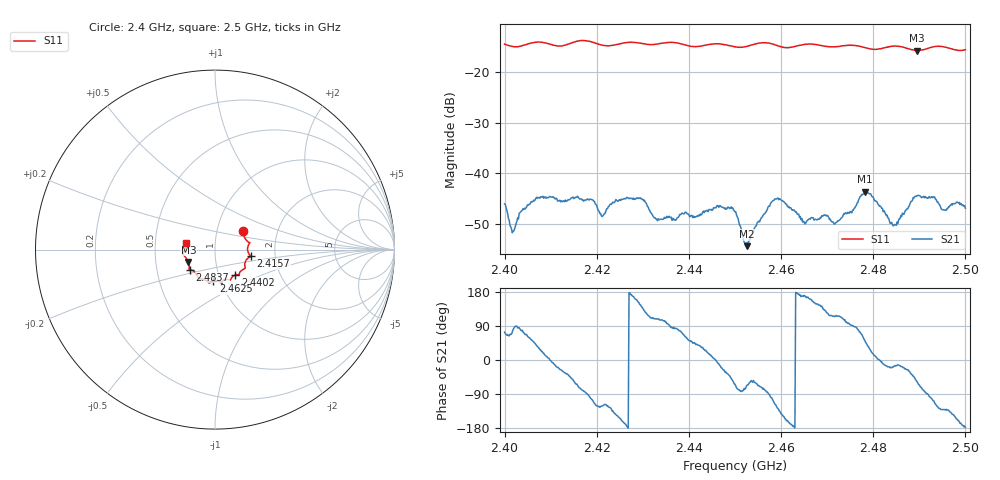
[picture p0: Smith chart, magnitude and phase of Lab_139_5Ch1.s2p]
# Hz S RI R 50
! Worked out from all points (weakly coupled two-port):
!   601 points, 2.4 GHz to 2.5 GHz, reference 50 ohm
!   highest |S21| = -43.64 dB at 2.4782 GHz (marker M1); lowest = -54.4 dB at 2.4525 GHz (marker M2)
!   lowest |S11| = -15.7 dB at 2.4895 GHz (marker M3), VSWR 1.39, Z = 36.8 - j5.17 ohm
!   |S11| at or under -10 dB: start of sweep to end of sweep
!   S12 and S22 are empty: the file has one direction only
!   S11 on the Smith chart (normalised r, x): 2.4 GHz: 1.34, +0.29; 2.4157 GHz: 1.49, -0.11; 2.4402 GHz: 1.20, -0.35; 2.4625 GHz: 0.92, -0.34; 2.4837 GHz: 0.74, -0.17; 2.5 GHz: 0.72, +0.05
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2.4e9  0.1568 0.1057  0.0014 0.00477  0 0  0 0
2.401833e9  0.1604 0.0783  0.000456 0.00262  0 0  0 0
2.407e9  0.1943 0.039  0.00462 0.00348  0 0  0 0
2.415667e9  0.1986 -0.0364  0.00261 -0.00519  0 0  0 0
2.416667e9  0.2015 -0.0398  0.00117 -0.00545  0 0  0 0
2.421167e9  0.1763 -0.0551  -0.00194 -0.00318  0 0  0 0
2.423833e9  0.1657 -0.0833  -0.00397 -0.00325  0 0  0 0
2.4295e9  0.1599 -0.1087  -0.0047 0.00323  0 0  0 0
2.433333e9  0.1356 -0.1336  -0.00112 0.00337  0 0  0 0
2.440167e9  0.1142 -0.1403  0.00234 0.00287  0 0  0 0
2.45e9  0.0642 -0.1657  0.00184 -0.00373  0 0  0 0
2.4525e9  0.0429 -0.1742  0.000712 -0.00176  0 0  0 0
2.458333e9  0.0342 -0.1854  -0.00171 -0.00509  0 0  0 0
2.4625e9  -0.00993 -0.1769  -0.00434 -0.00041  0 0  0 0
2.466667e9  -0.0333 -0.1865  -0.00336 0.00139  0 0  0 0
2.472e9  -0.068 -0.1648  -0.0015 0.0029  0 0  0 0
2.478167e9  -0.1 -0.1435  0.00406 0.00517  0 0  0 0
2.483333e9  -0.1382 -0.112  0.00341 -0.00111  0 0  0 0
2.483667e9  -0.1401 -0.1118  0.00299 -0.00112  0 0  0 0
2.484833e9  -0.1441 -0.1096  0.00298 -0.000773  0 0  0 0
2.4895e9  -0.1486 -0.0684  0.00328 -0.00504  0 0  0 0
2.5e9  -0.1626 0.0362  -0.0045 -0.000179  0 0  0 0
